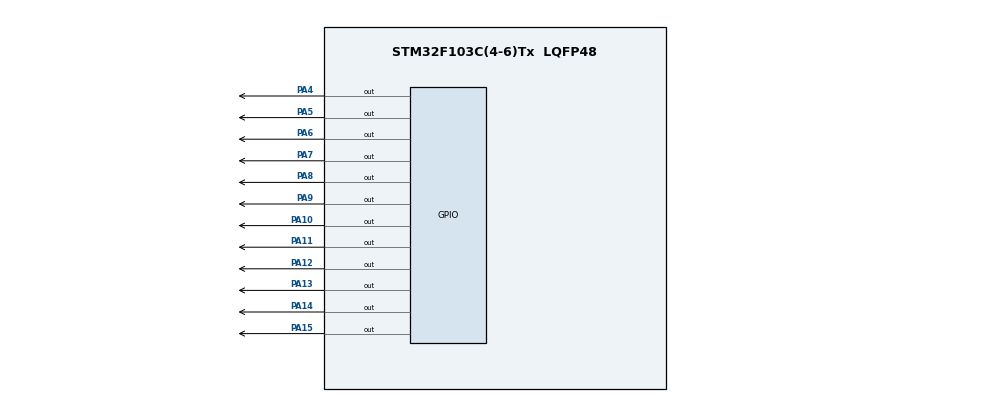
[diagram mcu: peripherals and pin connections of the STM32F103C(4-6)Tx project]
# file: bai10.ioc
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Mcu.Family=STM32F1
Mcu.Name=STM32F103C(4-6)Tx
Mcu.Package=LQFP48
NVIC.PriorityGroup=NVIC_PRIORITYGROUP_4
PA10.Signal=GPIO_Output
PA11.Signal=GPIO_Output
PA12.Signal=GPIO_Output
PA13.Signal=GPIO_Output
PA14.Signal=GPIO_Output
PA15.Signal=GPIO_Output
PA4.Signal=GPIO_Output
PA5.Signal=GPIO_Output
PA6.Signal=GPIO_Output
PA7.Signal=GPIO_Output
PA8.Signal=GPIO_Output
PA9.Signal=GPIO_Output
ProjectManager.HeapSize=0x200
ProjectManager.StackSize=0x400
ProjectManager.TargetToolchain=STM32CubeIDE
RCC.APB1Freq_Value=8000000
RCC.APB2Freq_Value=8000000
board=custom

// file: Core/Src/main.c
/* USER CODE BEGIN Header */
/**
  ******************************************************************************
  * @file           : main.c
  * @brief          : Main program body
  ******************************************************************************
  * @attention
  *
  * Copyright (c) 2022 STMicroelectronics.
  * All rights reserved.
  *
  * This software is licensed under terms that can be found in the LICENSE file
  * in the root directory of this software component.
  * If no LICENSE file comes with this software, it is provided AS-IS.
  *
  ******************************************************************************
  */
/* USER CODE END Header */
#include "main.h"

void SystemClock_Config(void);
static void MX_GPIO_Init(void);

/* USER CODE BEGIN 0 */
void clearAllClock();
void setNumberOnClock(int num);
void clearNumberOnClock(int num);
/* USER CODE END 0 */

int main(void)
{

  /* MCU Configuration--------------------------------------------------------*/

  /* Reset of all peripherals, Initializes the Flash interface and the Systick. */
  HAL_Init();

  /* Configure the system clock */
  SystemClock_Config();

  /* Initialize all configured peripherals */
  MX_GPIO_Init();

  /* Infinite loop */
  /* USER CODE BEGIN WHILE */
  GPIOA->ODR = 0x0000;
  unsigned char second = 0, minute = 0, hour = 0;
  while (1)
  {
	  second++;
	  if (second == 60) {
		  second = 0;
		  minute++;
	  }
	  if (minute == 60) {
		  minute = 0;
		  hour++;
	  }
	  if (hour == 12) {
		  hour = 0;
	  }
	  clearAllClock();
	  setNumberOnClock(second / 5);
	  setNumberOnClock(minute / 5);
	  setNumberOnClock(hour);
	  HAL_Delay(1000);
    /* USER CODE END WHILE */

  }
}

void SystemClock_Config(void)
{
  RCC_OscInitTypeDef RCC_OscInitStruct = {0};
  RCC_ClkInitTypeDef RCC_ClkInitStruct = {0};

  /** Initializes the RCC Oscillators according to the specified parameters
  * in the RCC_OscInitTypeDef structure.
  */
  RCC_OscInitStruct.OscillatorType = RCC_OSCILLATORTYPE_HSI;
  RCC_OscInitStruct.HSIState = RCC_HSI_ON;
  RCC_OscInitStruct.HSICalibrationValue = RCC_HSICALIBRATION_DEFAULT;
  RCC_OscInitStruct.PLL.PLLState = RCC_PLL_NONE;
  if (HAL_RCC_OscConfig(&RCC_OscInitStruct) != HAL_OK)
  {
    Error_Handler();
  }

  /** Initializes the CPU, AHB and APB buses clocks
  */
  RCC_ClkInitStruct.ClockType = RCC_CLOCKTYPE_HCLK|RCC_CLOCKTYPE_SYSCLK
                              |RCC_CLOCKTYPE_PCLK1|RCC_CLOCKTYPE_PCLK2;
  RCC_ClkInitStruct.SYSCLKSource = RCC_SYSCLKSOURCE_HSI;
  RCC_ClkInitStruct.AHBCLKDivider = RCC_SYSCLK_DIV1;
  RCC_ClkInitStruct.APB1CLKDivider = RCC_HCLK_DIV1;
  RCC_ClkInitStruct.APB2CLKDivider = RCC_HCLK_DIV1;

  if (HAL_RCC_ClockConfig(&RCC_ClkInitStruct, FLASH_LATENCY_0) != HAL_OK)
  {
    Error_Handler();
  }
}

static void MX_GPIO_Init(void)
{
  GPIO_InitTypeDef GPIO_InitStruct = {0};

  /* GPIO Ports Clock Enable */
  __HAL_RCC_GPIOA_CLK_ENABLE();

  /*Configure GPIO pin Output Level */
  HAL_GPIO_WritePin(GPIOA, GPIO_PIN_4|GPIO_PIN_5|GPIO_PIN_6|GPIO_PIN_7
                          |GPIO_PIN_8|GPIO_PIN_9|GPIO_PIN_10|GPIO_PIN_11
                          |GPIO_PIN_12|GPIO_PIN_13|GPIO_PIN_14|GPIO_PIN_15, GPIO_PIN_RESET);

  /*Configure GPIO pins : PA4 PA5 PA6 PA7
                           PA8 PA9 PA10 PA11
                           PA12 PA13 PA14 PA15 */
  GPIO_InitStruct.Pin = GPIO_PIN_4|GPIO_PIN_5|GPIO_PIN_6|GPIO_PIN_7
                          |GPIO_PIN_8|GPIO_PIN_9|GPIO_PIN_10|GPIO_PIN_11
                          |GPIO_PIN_12|GPIO_PIN_13|GPIO_PIN_14|GPIO_PIN_15;
  GPIO_InitStruct.Mode = GPIO_MODE_OUTPUT_PP;
  GPIO_InitStruct.Pull = GPIO_NOPULL;
  GPIO_InitStruct.Speed = GPIO_SPEED_FREQ_LOW;
  HAL_GPIO_Init(GPIOA, &GPIO_InitStruct);

}

/* USER CODE BEGIN 4 */
unsigned char status[12] = {};
unsigned int buffer = 0x0000;
void clearAllClock() {
	GPIOA->ODR = 0x0000;
	buffer = 0x0000;
	for (int i = 0; i < 12; i++) {
		status[i] = 0;
	}
}
void setNumberOnClock(int num) {
	if (num < 0 || num > 11) {
		return;
	}
	if (status[num] == 0) {
		unsigned int hex_num = 0x10 << num;
		buffer += hex_num;
		status[num] = 1;
		GPIOA->ODR = buffer;
	}
}
void clearNumberOnClock(int num) {
	if (num < 0 || num > 11) {
		return;
	}
	if (status[num] == 1) {
		unsigned int hex_num = 0x10 << num;
		buffer -= hex_num;
		status[num] = 0;
		GPIOA->ODR = buffer;
	}
}
/* USER CODE END 4 */

void Error_Handler(void)
{
  __disable_irq();
  while (1)
  {
  }
}
